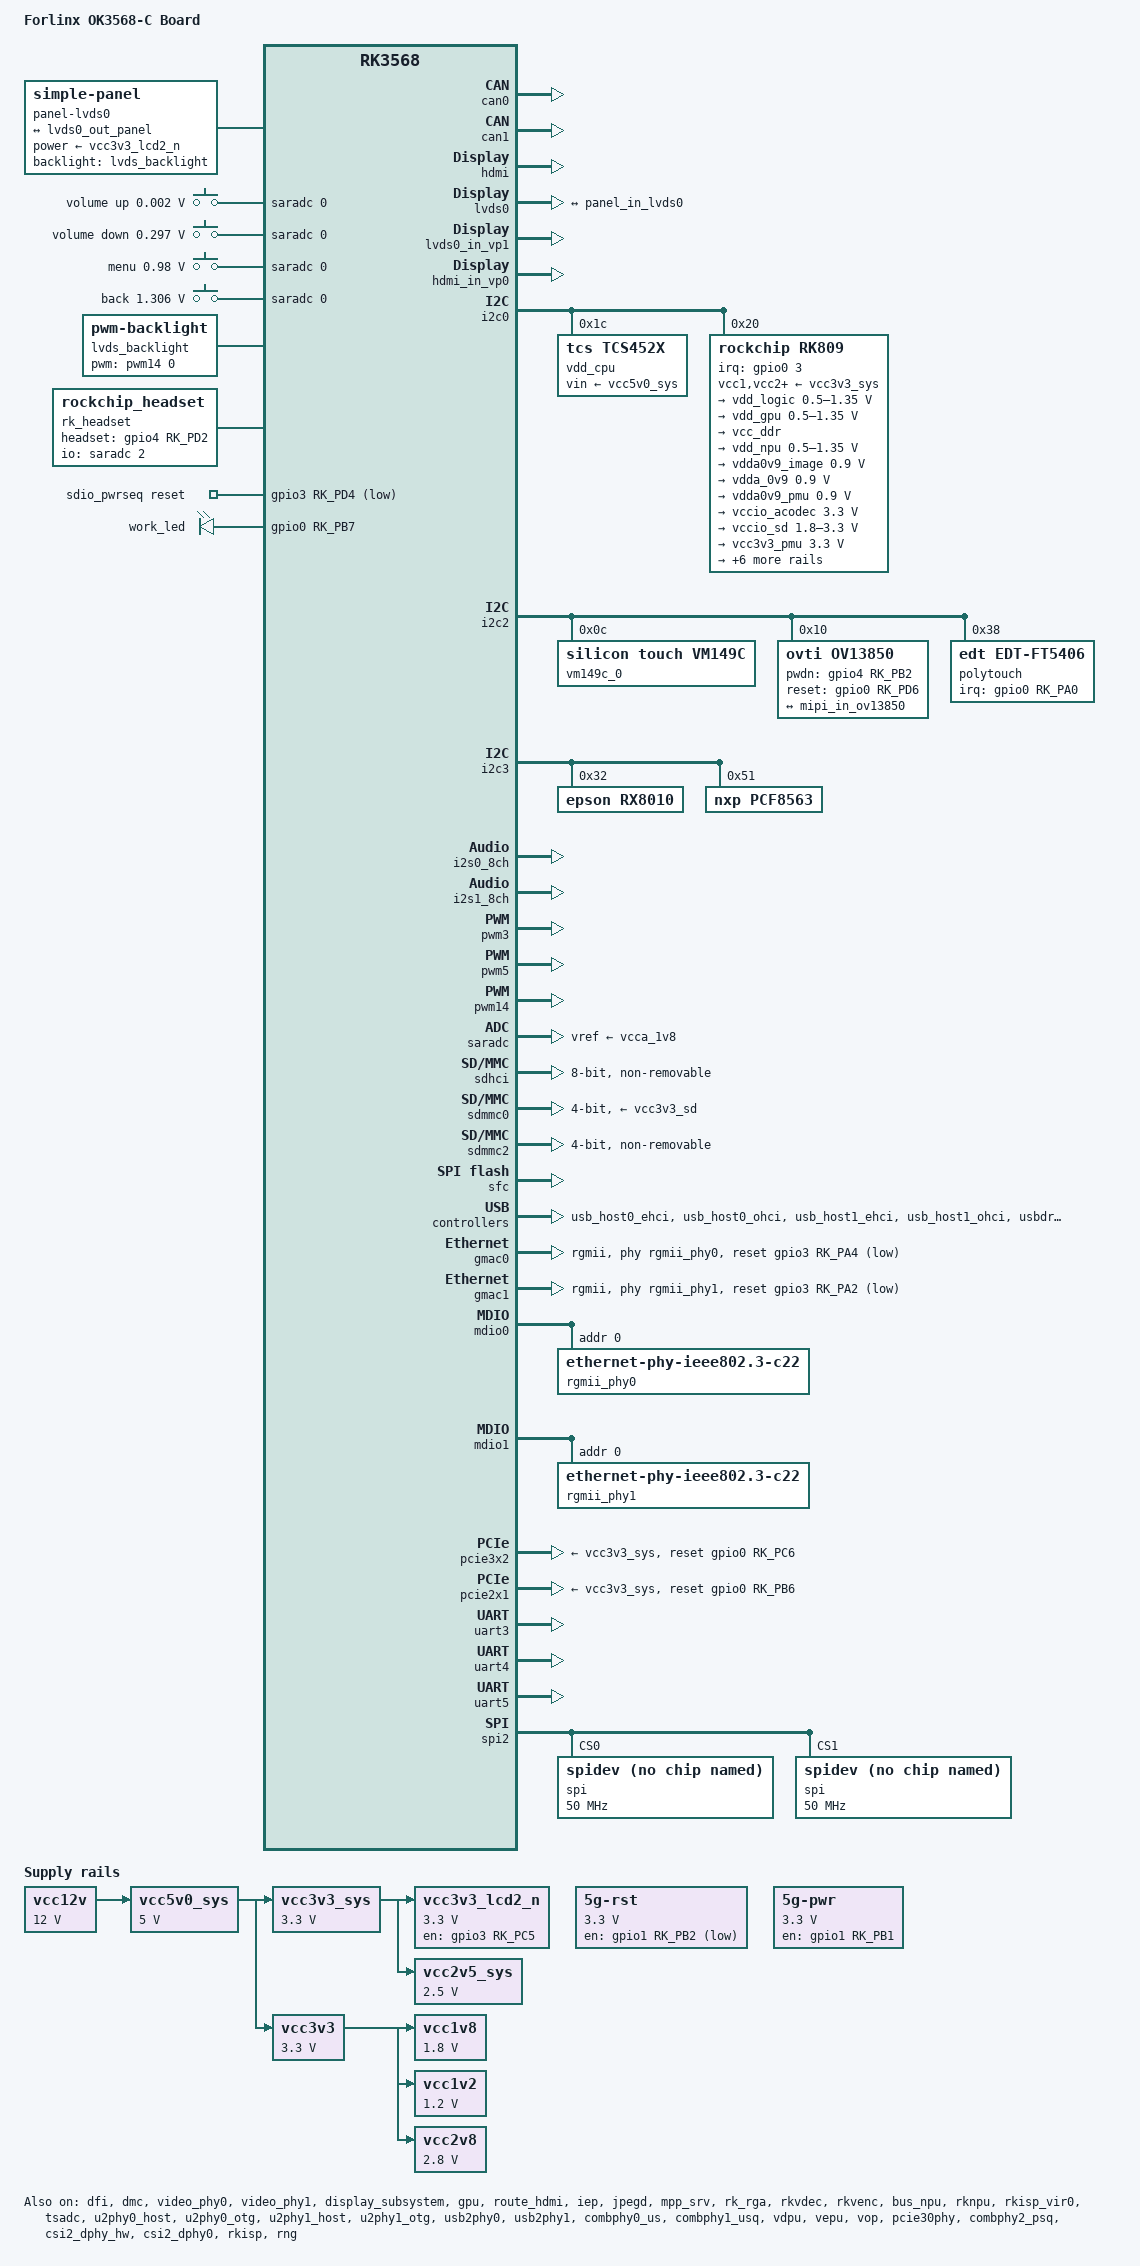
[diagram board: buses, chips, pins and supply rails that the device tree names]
/dts-v1/;
#include <dt-bindings/gpio/gpio.h>
#include <dt-bindings/pwm/pwm.h>
#include <dt-bindings/pinctrl/rockchip.h>
#include <dt-bindings/input/rk-input.h>
#include <dt-bindings/display/drm_mipi_dsi.h>
#include <dt-bindings/display/rockchip_vop.h>
#include <dt-bindings/sensor-dev.h>
#include "rk3568.dtsi"
#include <dt-bindings/display/media-bus-format.h>

/ {
	model = "Forlinx OK3568-C Board";
	compatible = "forlinx,ok3568", "rockchip,rk3568-evb1-ddr4-v10", "rockchip,rk3568";

	panel-lvds0 {
		compatible = "simple-panel";
		backlight = <&lvds_backlight>;
		power-supply = <&vcc3v3_lcd2_n>;
		enable-delay-ms = <20>;
		prepare-delay-ms = <20>;
		unprepare-delay-ms = <20>;
		disable-delay-ms = <20>;
		bus-format = <MEDIA_BUS_FMT_RGB888_1X7X4_SPWG>;
		width-mm = <217>;
		height-mm = <136>;

		display-timings {
			native-mode = <&timing0>;
			timing0: timing0 {
				clock-frequency = <71100000>;
				hactive = <1280>;
				vactive = <800>;
				hback-porch = <80>;
				hfront-porch = <80>;
				vback-porch = <10>;
				vfront-porch = <12>;
				hsync-len = <2>;
				vsync-len = <2>;
				hsync-active = <0>;
				vsync-active = <0>;
				de-active = <0>;
				pixelclk-active = <0>;
			};
		};

		ports {
			#address-cells = <1>;
			#size-cells = <0>;
			port@0 {
				reg = <0>;
				panel_in_lvds0: endpoint {
					remote-endpoint = <&lvds0_out_panel>;
				};
			};
		};
	};

	fiq_debugger: fiq-debugger {
		compatible = "rockchip,fiq-debugger";
		rockchip,serial-id = <2>;
		rockchip,wake-irq = <0>;
		/* If enable uart uses irq instead of fiq */
		rockchip,irq-mode-enable = <1>;
		rockchip,baudrate = <1500000>;  /* Only 115200 and 1500000 */
		interrupts = <GIC_SPI 252 IRQ_TYPE_LEVEL_LOW>;
		pinctrl-names = "default";
		pinctrl-0 = <&uart2m0_xfer>;
		status = "okay";
	};

	debug: debug@fd904000 {
		compatible = "rockchip,debug";
		reg = <0x0 0xfd904000 0x0 0x1000>,
			<0x0 0xfd905000 0x0 0x1000>,
			<0x0 0xfd906000 0x0 0x1000>,
			<0x0 0xfd907000 0x0 0x1000>;
	};

	cspmu: cspmu@fd90c000 {
		compatible = "rockchip,cspmu";
		reg = <0x0 0xfd90c000 0x0 0x1000>,
			<0x0 0xfd90d000 0x0 0x1000>,
			<0x0 0xfd90e000 0x0 0x1000>,
			<0x0 0xfd90f000 0x0 0x1000>;
	};

	adc_keys: adc-keys {
		compatible = "adc-keys";
		io-channels = <&saradc 0>;
		io-channel-names = "buttons";
		keyup-threshold-microvolt = <1800000>;
		poll-interval = <100>;

		vol-up-key {
			label = "volume up";
			linux,code = <KEY_VOLUMEUP>;
			press-threshold-microvolt = <1750>;
		};

		vol-down-key {
			label = "volume down";
			linux,code = <KEY_VOLUMEDOWN>;
			press-threshold-microvolt = <297500>;
		};

		menu-key {
			label = "menu";
			linux,code = <KEY_MENU>;
			press-threshold-microvolt = <980000>;
		};

		back-key {
			label = "back";
			linux,code = <KEY_BACK>;
			press-threshold-microvolt = <1305500>;
		};
	};

	audiopwmout_diff: audiopwmout-diff {
		status = "disabled";
		compatible = "simple-audio-card";
		simple-audio-card,format = "i2s";
		simple-audio-card,name = "rockchip,audiopwmout-diff";
		simple-audio-card,mclk-fs = <256>;
		simple-audio-card,bitclock-master = <&master>;
		simple-audio-card,frame-master = <&master>;
		simple-audio-card,cpu {
			sound-dai = <&i2s3_2ch>;
		};
		master: simple-audio-card,codec {
			sound-dai = <&dig_acodec>;
		};
	};

	hdmi_sound: hdmi-sound {
                status = "okay";
                compatible = "rockchip,hdmi";
                rockchip,mclk-fs = <128>;
                rockchip,card-name = "rockchip,hdmi";
                rockchip,cpu = <&i2s0_8ch>;
                rockchip,codec = <&hdmi>;
                rockchip,jack-det;
        };

	pdmics: dummy-codec {
		status = "disabled";
		compatible = "rockchip,dummy-codec";
		#sound-dai-cells = <0>;
	};

	pdm_mic_array: pdm-mic-array {
		status = "disabled";
		compatible = "simple-audio-card";
		simple-audio-card,name = "rockchip,pdm-mic-array";
		simple-audio-card,cpu {
			sound-dai = <&pdm>;
		};
		simple-audio-card,codec {
			sound-dai = <&pdmics>;
		};
	};

	reserved-memory {
		#address-cells = <2>;
		#size-cells = <2>;
		ranges;

		rknpu_reserved: rknpu {
			compatible = "shared-dma-pool";
			inactive;
			reusable;
			size = <0x0 0x20000000>;
			alignment = <0x0 0x1000>;
		};
	};

	rk809_sound: rk809-sound {
		status = "okay";
		compatible = "simple-audio-card";
		simple-audio-card,format = "i2s";
		simple-audio-card,name = "rockchip,rk809-codec";
		//simple-audio-card,hp-det-gpio = <&gpio4 RK_PD2 GPIO_ACTIVE_HIGH>;
		simple-audio-card,widgets =
			"Microphone", "Mic Jack",
			"Headphone", "Headphone Jack";
		simple-audio-card,routing =
                        "Mic Jack", "MICBIAS1",
                        "IN1P", "Mic Jack",
                        "Headphone Jack", "HPOL",
                        "Headphone Jack", "HPOR";
		simple-audio-card,mclk-fs = <256>;

		simple-audio-card,cpu {
			sound-dai = <&i2s1_8ch>;
		};
		simple-audio-card,codec {
			sound-dai = <&rk809_codec>;
		};
	};

	lvds_backlight: lvds-backlight {
                compatible = "pwm-backlight";
                pwms = <&pwm14 0 20000 0>;
                brightness-levels = <
                          0  20  20  21  21  22  22  23
                         23  24  24  25  25  26  26  27
                         27  28  28  29  29  30  30  31
                         31  32  32  33  33  34  34  35
                         35  36  36  37  37  38  38  39
                         40  41  42  43  44  45  46  47
                         48  49  50  51  52  53  54  55
                         56  57  58  59  60  61  62  63
                         64  65  66  67  68  69  70  71
                         72  73  74  75  76  77  78  79
                         80  81  82  83  84  85  86  87
                         88  89  90  91  92  93  94  95
                         96  97  98  99 100 101 102 103
                        104 105 106 107 108 109 110 111
                        112 113 114 115 116 117 118 119
                        120 121 122 123 124 125 126 127
                        128 129 130 131 132 133 134 135
                        136 137 138 139 140 141 142 143
                        144 145 146 147 148 149 150 151
                        152 153 154 155 156 157 158 159
                        160 161 162 163 164 165 166 167
                        168 169 170 171 172 173 174 175
                        176 177 178 179 180 181 182 183
                        184 185 186 187 188 189 190 191
                        192 193 194 195 196 197 198 199
                        200 201 202 203 204 205 206 207
                        208 209 210 211 212 213 214 215
                        216 217 218 219 220 221 222 223
                        224 225 226 227 228 229 230 231
                        232 233 234 235 236 237 238 239
                        240 241 242 243 244 245 246 247
                        248 249 250 251 252 253 254 255
                >;
                default-brightness-level = <200>;
                is-forlinx;
        };

	rk_headset: rk-headset {
		compatible = "rockchip_headset";
		headset_gpio = <&gpio4 RK_PD2 GPIO_ACTIVE_HIGH>;
		pinctrl-names = "default";
		pinctrl-0 = <&hp_det>;
		io-channels = <&saradc 2>;
	};

	vcc12v: vcc-12v {
		compatible = "regulator-fixed";
		regulator-name = "vcc12v";
		regulator-always-on;
		regulator-boot-on;
		regulator-min-microvolt = <12000000>;
		regulator-max-microvolt = <12000000>;
	};

	vcc3v3_sys: vcc3v3-sys {
		compatible = "regulator-fixed";
		regulator-name = "vcc3v3_sys";
		regulator-always-on;
		regulator-boot-on;
		regulator-min-microvolt = <3300000>;
		regulator-max-microvolt = <3300000>;
		vin-supply = <&vcc5v0_sys>;
	};

	vcc5v0_sys: vcc5v0-sys {
		compatible = "regulator-fixed";
		regulator-name = "vcc5v0_sys";
		regulator-always-on;
		regulator-boot-on;
		regulator-min-microvolt = <5000000>;
		regulator-max-microvolt = <5000000>;
		vin-supply = <&vcc12v>;
	};

	vcc3v3: vcc-3v3 {
		compatible = "regulator-fixed";
		regulator-name = "vcc3v3";
		regulator-always-on;
		regulator-boot-on;
		regulator-min-microvolt = <3300000>;
		regulator-max-microvolt = <3300000>;
		vin-supply = <&vcc5v0_sys>;
	};

	vcc1v8: vcc-1v8 {
		compatible = "regulator-fixed";
		regulator-name = "vcc1v8";
		regulator-always-on;
		regulator-boot-on;
		regulator-min-microvolt = <1800000>;
		regulator-max-microvolt = <1800000>;
		vin-supply = <&vcc3v3>;
	};

	vcc1v2: vcc-1v2 {
		compatible = "regulator-fixed";
		regulator-name = "vcc1v2";
		regulator-always-on;
		regulator-boot-on;
		regulator-min-microvolt = <1200000>;
		regulator-max-microvolt = <1200000>;
		vin-supply = <&vcc3v3>;
	};

	vcc2v8: vcc-2v8 {
		compatible = "regulator-fixed";
		regulator-name = "vcc2v8";
		regulator-always-on;
		regulator-boot-on;
		regulator-min-microvolt = <2800000>;
		regulator-max-microvolt = <2800000>;
		vin-supply = <&vcc3v3>;
	};

	vcc3v3_lcd2_n: vcc3v3-lcd2-n {
		compatible = "regulator-fixed";
		regulator-name = "vcc3v3_lcd2_n";
		regulator-boot-on;
		regulator-min-microvolt = <3300000>;
		regulator-max-microvolt = <3300000>;
		enable-active-high;
		gpio = <&gpio3 RK_PC5 GPIO_ACTIVE_HIGH>;
		vin-supply = <&vcc3v3_sys>;

		regulator-state-mem {
			regulator-off-in-suspend;
		};
	};

	sdio_pwrseq: sdio-pwrseq {
		compatible = "mmc-pwrseq-simple";
		clocks = <&rk809 1>;
		clock-names = "ext_clock";
		pinctrl-names = "default";
		pinctrl-0 = <&wifi_enable_h>;

		/*
		 * On the module itself this is one of these (depending
		 * on the actual card populated):
		 * - SDIO_RESET_L_WL_REG_ON
		 * - PDN (power down when low)
		 */
		post-power-on-delay-ms = <200>;
		reset-gpios = <&gpio3 RK_PD4 GPIO_ACTIVE_LOW>;
	};

	vcc2v5_sys: vcc2v5-ddr {
		compatible = "regulator-fixed";
		regulator-name = "vcc2v5-sys";
		regulator-always-on;
		regulator-boot-on;
		regulator-min-microvolt = <2500000>;
		regulator-max-microvolt = <2500000>;
		vin-supply = <&vcc3v3_sys>;
	};

	5g-rst {
		compatible = "regulator-fixed";
		regulator-name = "5g-rst";
		regulator-min-microvolt = <3300000>;
		regulator-max-microvolt = <3300000>;
		gpio = <&gpio1 RK_PB2 GPIO_ACTIVE_LOW>;
		enable-active-low;
		regulator-boot-on;
		regulator-always-on;
		pinctrl-names = "default";
		pinctrl-0 = <&net_5g_rst_gpio>;
		status = "okay";
	};

	5g-pwr {
                compatible = "regulator-fixed";
                regulator-name = "5g-pwr";
                regulator-min-microvolt = <3300000>;
                regulator-max-microvolt = <3300000>;
                gpio = <&gpio1 RK_PB1 GPIO_ACTIVE_HIGH>;
                enable-active-high;
                regulator-boot-on;
                regulator-always-on;
                pinctrl-names = "default";
                pinctrl-0 = <&net_5g_pwr_gpio>;
                status = "okay";
        };

	test-power {
                status = "okay";
        };

	leds: leds {
		compatible = "gpio-leds";
		work_led: work {
			gpios = <&gpio0 RK_PB7 GPIO_ACTIVE_HIGH>;
			linux,default-trigger = "heartbeat";
		};
	};
};

&can0 {
        assigned-clocks = <&cru CLK_CAN0>;
        assigned-clock-rates = <200000000>;
        pinctrl-names = "default";
        pinctrl-0 = <&can0m0_pins>;
        status = "okay";
};

&can1 {
        assigned-clocks = <&cru CLK_CAN1>;
        assigned-clock-rates = <200000000>;
        pinctrl-names = "default";
        pinctrl-0 = <&can1m1_pins>;
        status = "okay";
};

&can2 {
        assigned-clocks = <&cru CLK_CAN2>;
        assigned-clock-rates = <150000000>;
        pinctrl-names = "default";
        pinctrl-0 = <&can2m1_pins>;
        status = "disabled";
};

&cpu0 {
	cpu-supply = <&vdd_cpu>;
};

&dfi {
	status = "okay";
};

&dmc {
	center-supply = <&vdd_logic>;
	status = "okay";
};

&video_phy0 {
	status = "okay";
};

&video_phy1 {
	status = "okay";
};

&display_subsystem {
    status = "okay";
};

&gpu {
	clock-names = "gpu", "bus";
	interrupt-names = "gpu", "mmu", "job";
	mali-supply = <&vdd_gpu>;
	status = "okay";
};

&hdmi {
	status = "okay";
	pinctrl-0 = <&hdmitx_scl &hdmitx_sda &hdmitxm1_cec>;
};

&dsi0 {
	status = "disabled";
};

&dsi0_in_vp0 {
	status = "disabled";
};

&dsi0_in_vp1 {
	status = "disabled";
};

&dsi1_in_vp1 {
	status = "disabled";
};

&edp_in_vp1 {
	status = "disabled";
};

&lvds0 {
	status = "okay";
	ports {
		port@1 {
			reg = <1>;
			lvds0_out_panel: endpoint {
				remote-endpoint = <&panel_in_lvds0>;
			};
		};
	};
};

&lvds0_in_vp1 {
	status = "okay";
};

&lvds1 {
	status = "disabled";
};

&rgb_in_vp2 {
	status = "disabled";
};

&hdmi_in_vp0 {
	status = "okay";
};

&hdmi_in_vp1 {
	status = "disabled";
};

&hdmi_sound {
	status = "okay";
};

&route_hdmi {
	status = "okay";
	connect = <&vp0_out_hdmi>;
};

&i2c0 {
	status = "okay";

	vdd_cpu: tcs4525@1c {
		compatible = "tcs,tcs452x";
		reg = <0x1c>;
		vin-supply = <&vcc5v0_sys>;
		regulator-compatible = "fan53555-reg";
		regulator-name = "vdd_cpu";
		regulator-min-microvolt = <712500>;
		regulator-max-microvolt = <1390000>;
		regulator-init-microvolt = <900000>;
		regulator-ramp-delay = <2300>;
		fcs,suspend-voltage-selector = <1>;
		regulator-boot-on;
		regulator-always-on;
		regulator-state-mem {
			regulator-off-in-suspend;
		};
	};

	rk809: pmic@20 {
		compatible = "rockchip,rk809";
		reg = <0x20>;
		interrupt-parent = <&gpio0>;
		interrupts = <3 IRQ_TYPE_LEVEL_LOW>;

		pinctrl-names = "default", "pmic-sleep",
			"pmic-power-off", "pmic-reset";
		pinctrl-0 = <&pmic_int>;
		pinctrl-1 = <&soc_slppin_slp>, <&rk817_slppin_slp>;
		pinctrl-2 = <&soc_slppin_gpio>, <&rk817_slppin_pwrdn>;
		pinctrl-3 = <&soc_slppin_gpio>, <&rk817_slppin_rst>;

		rockchip,system-power-controller;
		wakeup-source;
		#clock-cells = <1>;
		clock-output-names = "rk808-clkout1", "rk808-clkout2";
                //fb-inner-reg-idxs = <2>;
                /* 1: rst regs (default in codes), 0: rst the pmic */
		pmic-reset-func = <0>;
		/* not save the PMIC_POWER_EN register in uboot */
		not-save-power-en = <1>;
		
		vcc1-supply = <&vcc3v3_sys>;
		vcc2-supply = <&vcc3v3_sys>;
		vcc3-supply = <&vcc3v3_sys>;
		vcc4-supply = <&vcc3v3_sys>;
		vcc5-supply = <&vcc3v3_sys>;
		vcc6-supply = <&vcc3v3_sys>;
		vcc7-supply = <&vcc3v3_sys>;
		vcc8-supply = <&vcc3v3_sys>;
		vcc9-supply = <&vcc3v3_sys>;

		pwrkey {
			status = "okay";
		};

		pinctrl_rk8xx: pinctrl_rk8xx {
			gpio-controller;
			#gpio-cells = <2>;

			rk817_slppin_null: rk817_slppin_null {
				pins = "gpio_slp";
				function = "pin_fun0";
			};

			rk817_slppin_slp: rk817_slppin_slp {
				pins = "gpio_slp";
				function = "pin_fun1";
			};

			rk817_slppin_pwrdn: rk817_slppin_pwrdn {
				pins = "gpio_slp";
				function = "pin_fun2";
			};

			rk817_slppin_rst: rk817_slppin_rst {
				pins = "gpio_slp";
				function = "pin_fun3";
			};
		};

                regulators {
                        vdd_logic: DCDC_REG1 {
				regulator-always-on;
				regulator-boot-on;
				regulator-min-microvolt = <500000>;
				regulator-max-microvolt = <1350000>;
				regulator-init-microvolt = <900000>;
				regulator-ramp-delay = <6001>;
				regulator-initial-mode = <0x2>;
				regulator-name = "vdd_logic";
				regulator-state-mem {
				        regulator-off-in-suspend;
				};
                        };

                        vdd_gpu: DCDC_REG2 {
				regulator-always-on;
				regulator-boot-on;
				regulator-min-microvolt = <500000>;
				regulator-max-microvolt = <1350000>;
				regulator-init-microvolt = <900000>;
				regulator-ramp-delay = <6001>;
				regulator-initial-mode = <0x2>;
				regulator-name = "vdd_gpu";
				regulator-state-mem {
				        regulator-off-in-suspend;
				};
                        };

                        vcc_ddr: DCDC_REG3 {
				regulator-always-on;
				regulator-boot-on;
				regulator-initial-mode = <0x2>;
				regulator-name = "vcc_ddr";
				regulator-state-mem {
				        regulator-on-in-suspend;
				};
                        };

                        vdd_npu: DCDC_REG4 {
				regulator-always-on;
				regulator-boot-on;
				regulator-min-microvolt = <500000>;
				regulator-max-microvolt = <1350000>;
				regulator-init-microvolt = <900000>;
				regulator-ramp-delay = <6001>;
				regulator-initial-mode = <0x2>;
				regulator-name = "vdd_npu";
				regulator-state-mem {
				        regulator-off-in-suspend;
				};
                        };

                        vdda0v9_image: LDO_REG1 {
				regulator-boot-on;
				regulator-always-on;
				regulator-min-microvolt = <900000>;
				regulator-max-microvolt = <900000>;
				regulator-name = "vdda0v9_image";
				regulator-state-mem {
				        regulator-off-in-suspend;
				};
                        };

                        vdda_0v9: LDO_REG2 {
				regulator-always-on;
				regulator-boot-on;
				regulator-min-microvolt = <900000>;
				regulator-max-microvolt = <900000>;
				regulator-name = "vdda_0v9";
				regulator-state-mem {
				        regulator-off-in-suspend;
				};
                        };

                        vdda0v9_pmu: LDO_REG3 {
				regulator-always-on;
				regulator-boot-on;
				regulator-min-microvolt = <900000>;
				regulator-max-microvolt = <900000>;
				regulator-name = "vdda0v9_pmu";
				regulator-state-mem {
				        regulator-on-in-suspend;
				        regulator-suspend-microvolt = <900000>;
				};
                        };

                        vccio_acodec: LDO_REG4 {
				regulator-always-on;
				regulator-boot-on;
				regulator-min-microvolt = <3300000>;
				regulator-max-microvolt = <3300000>;
				regulator-name = "vccio_acodec";
				regulator-state-mem {
				        regulator-off-in-suspend;
				};
                        };

                        vccio_sd: LDO_REG5 {
				regulator-always-on;
				regulator-boot-on;
				regulator-min-microvolt = <1800000>;
				regulator-max-microvolt = <3300000>;
				regulator-name = "vccio_sd";
				regulator-state-mem {
				        regulator-off-in-suspend;
				};
                        };

                        vcc3v3_pmu: LDO_REG6 {
				regulator-always-on;
				regulator-boot-on;
				regulator-min-microvolt = <3300000>;
				regulator-max-microvolt = <3300000>;
				regulator-name = "vcc3v3_pmu";
				regulator-state-mem {
				        regulator-on-in-suspend;
				        regulator-suspend-microvolt = <3300000>;
				};
                        };

                        vcca_1v8: LDO_REG7 {
				regulator-always-on;
				regulator-boot-on;
				regulator-min-microvolt = <1800000>;
				regulator-max-microvolt = <1800000>;
				regulator-name = "vcca_1v8";
				regulator-state-mem {
				        regulator-off-in-suspend;
				};
                        };

                        vcca1v8_pmu: LDO_REG8 {
				regulator-always-on;
				regulator-boot-on;
				regulator-min-microvolt = <1800000>;
				regulator-max-microvolt = <1800000>;
				regulator-name = "vcca1v8_pmu";
				regulator-state-mem {
					regulator-on-in-suspend;
					regulator-suspend-microvolt = <1800000>;
				};
                        };

                        vcca1v8_image: LDO_REG9 {
				regulator-always-on;
				regulator-boot-on;
				regulator-min-microvolt = <1800000>;
				regulator-max-microvolt = <1800000>;
				regulator-name = "vcca1v8_image";
				regulator-state-mem {
				        regulator-off-in-suspend;
				};
                        };

                        vcc_1v8: DCDC_REG5 {
				regulator-always-on;
				regulator-boot-on;
				regulator-min-microvolt = <1800000>;
				regulator-max-microvolt = <1800000>;
				regulator-name = "vcc_1v8";
				regulator-state-mem {
				        regulator-off-in-suspend;
				};
                        };

                        vcc_3v3: SWITCH_REG1 {
				regulator-always-on;
				regulator-boot-on;
				regulator-name = "vcc_3v3";
				regulator-state-mem {
				        regulator-off-in-suspend;
				};
                        };

                        vcc3v3_sd: SWITCH_REG2 {
                                regulator-always-on;
                                regulator-boot-on;
                                regulator-name = "vcc3v3_sd";
                                regulator-state-mem {
                                        regulator-off-in-suspend;
                                };
                        };
                };

                rk809_codec: codec {
                        #sound-dai-cells = <0>;
                        compatible = "rockchip,rk809-codec", "rockchip,rk817-codec";
                        clocks = <&cru I2S1_MCLKOUT>;
                        clock-names = "mclk";
                        assigned-clocks = <&cru I2S1_MCLKOUT>, <&cru I2S1_MCLK_TX_IOE>;
                        assigned-clock-rates = <12288000>;
                        assigned-clock-parents = <&cru I2S1_MCLKOUT_TX>, <&cru I2S1_MCLKOUT_TX>;
                        pinctrl-names = "default";
                        pinctrl-0 = <&i2s1m0_mclk>;
                        hp-volume = <20>;
                        spk-volume = <3>;
                        mic-in-differential;
                        status = "okay";
                };
        };
};

&i2c2 {
        status = "okay";
        pinctrl-names = "default";
        pinctrl-0 = <&i2c2m1_xfer>;

        vm149c_0: vm149c@0c {
                compatible = "silicon touch,vm149c";
                status = "okay";
                reg = <0x0c>;
                rockchip,camera-module-index = <0>;
                rockchip,camera-module-facing = "back";
        };

        ov13850: ov13850@10 {
                compatible = "ovti,ov13850";
                status = "okay";
                reg = <0x10>;
                clocks = <&cru CLK_CIF_OUT>;
                clock-names = "xvclk";
                power-domains = <&power RK3568_PD_VI>;
                pinctrl-names = "default";
                pinctrl-0 = <&cif_clk>, <&ov13850_default_pin>;
                pwdn-gpios = <&gpio4 RK_PB2 GPIO_ACTIVE_HIGH>;
                reset-gpios = <&gpio0 RK_PD6 GPIO_ACTIVE_HIGH>;
                rockchip,camera-module-index = <0>;
                rockchip,camera-module-facing = "back";
                rockchip,camera-module-name = "ov13850-csi";
                rockchip,camera-module-lens-name = "ov13850-2mp";
                lens-focus = <&vm149c_0>;

                port {
                        ov13850_out: endpoint {
                                remote-endpoint = <&mipi_in_ov13850>;
                                data-lanes = <1 2>;
                        };
                };
        };

	gt9xx_lvds: gt9xx-lvds@5d {
                compatible = "goodix,gt9xx";
                reg = <0x5d>;
                pinctrl-names = "default";
                pinctrl-0 = <&touch_gpio>;
                touch-gpio = <&gpio1 RK_PA4 IRQ_TYPE_LEVEL_LOW>;
                reset-gpio = <&gpio1 RK_PB0 GPIO_ACTIVE_HIGH>;
                max-x = <1280>;
                max-y = <800>;
                tp-size = <970>;
                status = "disabled";
        };

        gt9xx_rgb: gt9xx-rgb@14 {
                compatible = "goodix,gt928";
                reg = <0x14>;
                pinctrl-names = "default";
                pinctrl-0 = <&rgb_touch_gpio>;
                interrupt-parent = <&gpio4>;
                interrupts = <RK_PC6 IRQ_TYPE_EDGE_FALLING>;
                irq-gpio = <&gpio4 RK_PC6 IRQ_TYPE_LEVEL_LOW>;
                reset-gpio = <&gpio4 RK_PC5 GPIO_ACTIVE_HIGH>;
                touchscreen-size-x = <800>;
                touchscreen-size-y = <480>;
                touchscreen-inverted-x;
                touchscreen-inverted-y;
                //uniq = "rgb";
                status = "disabled";
        };

        gt9xx_dsi: gt9xx@14 {
                compatible = "goodix,gt928";
                reg = <0x14>;
                pinctrl-names = "default";
                pinctrl-0 = <&dsi_gt911_int>;
                interrupt-parent = <&gpio0>;
                interrupts = <RK_PA0 IRQ_TYPE_EDGE_FALLING>;
                irq-gpio = <&gpio0 RK_PA0 GPIO_ACTIVE_HIGH>;
                reset-gpio = <&gpio0 RK_PC0 GPIO_ACTIVE_HIGH>;
                touchscreen-size-x = <1024>;
                touchscreen-size-y = <600>;
                uniq = "dsi";
                status = "disabled";
        };

        polytouch: edt-ft5x06@38{
                compatible = "edt,edt-ft5406", "edt,edt-ft5x06";
                reg = <0x38>;
                pinctrl-names = "defaults";
                pinctrl-0 = <&ft5x06_int>;
                interrupt-parent = <&gpio0>;
                interrupts = <RK_PA0 IRQ_TYPE_EDGE_FALLING>;
                touchscreen-size-x = <1024>;
                touchscreen-size-y = <600>;
                status = "okay";
        };
};

&i2c3 {
        status = "okay";

        rx8010: rx8010@32 {
                compatible = "epson,rx8010";
                reg = <0x32>;
        };

        pcf8563: pcf8563@51 {
                compatible = "nxp,pcf8563";
                reg = <0x51>;
                #clock-cells = <0>;
        };
};

&i2s0_8ch {
        status = "okay";
};

&i2s1_8ch {
        status = "okay";
        rockchip,clk-trcm = <1>;
        pinctrl-names = "default";
        pinctrl-0 = <&i2s1m0_sclktx
                     &i2s1m0_lrcktx
                     &i2s1m0_sdi0
                     &i2s1m0_sdo0>;
};

&iep {
	status = "okay";
};

&iep_mmu {
	status = "okay";
};

&jpegd {
	status = "okay";
};

&jpegd_mmu {
	status = "okay";
};

&mpp_srv {
	status = "okay";
};

&pmu_io_domains {
	status = "okay";
	pmuio1-supply = <&vcc3v3_pmu>;
	pmuio2-supply = <&vcc3v3_pmu>;
	vccio1-supply = <&vccio_acodec>;
	vccio3-supply = <&vccio_sd>;
	vccio4-supply = <&vcc_1v8>;
	vccio5-supply = <&vcc_3v3>;
	vccio6-supply = <&vcc_1v8>;
	vccio7-supply = <&vcc_3v3>;
};

&pwm3 {
        status = "okay";
};

&pwm5 {
        status = "okay";
};

&pwm14 {
	status = "okay";
};

&rk_rga {
	status = "okay";
};

&rkvdec {
	status = "okay";
};

&rkvdec_mmu {
	status = "okay";
};

&rkvenc {
	venc-supply = <&vdd_logic>;
	status = "okay";
};

&rkvenc_mmu {
	status = "okay";
};

&bus_npu {
	bus-supply = <&vdd_logic>;
	pvtm-supply = <&vdd_cpu>;
	status = "okay";
};

&rknpu {
	memory-region = <&rknpu_reserved>;
	rknpu-supply = <&vdd_npu>;
	status = "okay";
};

&rknpu_mmu {
	status = "okay";
};

&saradc {
	status = "okay";
	vref-supply = <&vcca_1v8>;
};

&sdhci {
	bus-width = <8>;
	supports-emmc;
	non-removable;
	max-frequency = <200000000>;
	status = "okay";
};

&sdmmc0 {
	max-frequency = <150000000>;
	supports-sd;
	bus-width = <4>;
	cap-mmc-highspeed;
	cap-sd-highspeed;
	disable-wp;
	sd-uhs-sdr104;
	vmmc-supply = <&vcc3v3_sd>;
	vqmmc-supply = <&vccio_sd>;
	pinctrl-names = "default";
	pinctrl-0 = <&sdmmc0_bus4 &sdmmc0_clk &sdmmc0_cmd &sdmmc0_det>;
	status = "okay";
};

&rkisp_vir0 {
        status = "okay";

        port {
                #address-cells = <1>;
                #size-cells = <0>;

                isp0_in: endpoint@0 {
                        reg = <0>;
                        remote-endpoint = <&csidphy_out>;
                };
        };
};

&sdmmc2 {
	max-frequency = <150000000>;
	supports-sdio;
	bus-width = <4>;
	disable-wp;
	cap-sd-highspeed;
	cap-sdio-irq;
	keep-power-in-suspend;
	mmc-pwrseq = <&sdio_pwrseq>;
	non-removable;
	pinctrl-names = "default";
	pinctrl-0 = <&sdmmc2m0_bus4 &sdmmc2m0_cmd &sdmmc2m0_clk>;
	sd-uhs-sdr104;
	status = "okay";
};

&sfc {
	status = "okay";
};

&tsadc {
	status = "okay";
};

&u2phy0_host {
	status = "okay";
};

&u2phy0_otg {
	status = "okay";
};

&u2phy1_host {
	status = "okay";
};

&u2phy1_otg {
	status = "okay";
};

&usb2phy0 {
	status = "okay";
};

&usb2phy1 {
	status = "okay";
};

&usb_host0_ehci {
	status = "okay";
};

&usb_host0_ohci {
	status = "okay";
};

&usb_host1_ehci {
	status = "okay";
};

&usb_host1_ohci {
	status = "okay";
};

&usbdrd_dwc3 {
	extcon=<&usb2phy0>;
	status="okay";
};

&usbdrd30 {
	status = "okay";
};

&usbhost_dwc3 {
	status = "okay";
};

&usbhost30 {
	status = "okay";
};

&combphy0_us {
	status = "okay";
};

&combphy1_usq {
	status = "okay";
};

&xpcs {
	status="disabled";
};

&vdpu {
	status = "okay";
};

&vdpu_mmu {
	status = "okay";
};

&vepu {
	status = "okay";
};

&vepu_mmu {
	status = "okay";
};

&vop {
	status = "okay";
	assigned-clocks = <&cru DCLK_VOP0>, <&cru DCLK_VOP1>;
	assigned-clock-parents = <&pmucru PLL_HPLL>, <&cru PLL_VPLL>;
};

&vop_mmu {
	status = "okay";
};

&gmac0 {
        phy-mode = "rgmii";
        clock_in_out = "output";

        snps,reset-gpio = <&gpio3 RK_PA4 GPIO_ACTIVE_LOW>;
	snps,reset-active-low;
	/* Reset time is 20ms, 100ms for rtl8211f */
	snps,reset-delays-us = <0 20000 100000>;

	assigned-clocks = <&cru SCLK_GMAC0_RX_TX>, <&cru SCLK_GMAC0>, <&cru CLK_MAC0_OUT>;
        assigned-clock-parents = <&cru SCLK_GMAC0_RGMII_SPEED>;
	 assigned-clock-rates = <0>, <125000000>, <25000000>;

	pinctrl-names = "default";
	pinctrl-0 = <&gmac0_miim
		     &gmac0_tx_bus2
		     &gmac0_rx_bus2
		     &gmac0_rgmii_clk
		     &gmac0_rgmii_bus
		     &eth0_pins>;

	tx_delay = <0x2f>;
	rx_delay = <0x00>;

	phy-handle = <&rgmii_phy0>;
	status = "okay";
};

&gmac1 {
        phy-mode = "rgmii";
        clock_in_out = "output";

        snps,reset-gpio = <&gpio3 RK_PA2 GPIO_ACTIVE_LOW>;
	snps,reset-active-low;
	/* Reset time is 20ms, 100ms for rtl8211f */
	snps,reset-delays-us = <0 20000 100000>;

        assigned-clocks = <&cru SCLK_GMAC1_RX_TX>, <&cru SCLK_GMAC1>, <&cru CLK_MAC1_OUT>;
        assigned-clock-parents = <&cru SCLK_GMAC1_RGMII_SPEED>;
	assigned-clock-rates = <0>, <125000000>, <25000000>;

	pinctrl-names = "default";
	pinctrl-0 = <&gmac1m1_miim
		     &gmac1m1_tx_bus2
		     &gmac1m1_rx_bus2
		     &gmac1m1_rgmii_clk
		     &gmac1m1_rgmii_bus
		     &eth1m1_pins>;

	tx_delay = <0x35>;
	rx_delay = <0x00>;

	phy-handle = <&rgmii_phy1>;
	status = "okay";
};

&mdio0 {
        rgmii_phy0: phy@0 {
                compatible = "ethernet-phy-ieee802.3-c22";
                reg = <0x0>;
                clocks = <&cru CLK_MAC0_OUT>;
        };
};

&mdio1 {
	rgmii_phy1: phy@0 {
		compatible = "ethernet-phy-ieee802.3-c22";
		reg = <0x0>;
		clocks = <&cru CLK_MAC1_OUT>;
	};
};

&pcie30phy {
	status = "okay";
};

&pcie3x2 {
	reset-gpios = <&gpio0 RK_PC6 GPIO_ACTIVE_HIGH>;
	enable-gpios = <&gpio0 RK_PA5 GPIO_ACTIVE_HIGH>;
	vpcie3v3-supply = <&vcc3v3_sys>;
	status = "okay";
};

&pcie2x1 {
	reset-gpios = <&gpio0 RK_PB6 GPIO_ACTIVE_HIGH>;
	vpcie3v3-supply = <&vcc3v3_sys>;
	status = "okay";
};

&combphy2_psq {
	status = "okay";
};

&csi2_dphy_hw {
	status = "okay";
};

&csi2_dphy0 {
	status = "okay";

	ports {
		#address-cells = <1>;
		#size-cells = <0>;
		port@0 {
			reg = <0>;
			#address-cells = <1>;
			#size-cells = <0>;

			mipi_in_ov13850: endpoint@1 {
				reg = <1>;
				remote-endpoint = <&ov13850_out>;
				data-lanes = <1 2>;
			};
		};
		port@1 {
			reg = <1>;
			#address-cells = <1>;
			#size-cells = <0>;

			csidphy_out: endpoint@0 {
				reg = <0>;
				remote-endpoint = <&isp0_in>;
			};
		};
	};
};

&rkisp {
	status = "okay";
};

&rkisp_mmu {
	status = "okay";
};

&reserved_memory {
	ramoops: ramoops@110000 {
		compatible = "ramoops";
		reg = <0x0 0x110000 0x0 0xf0000>;
		record-size = <0x20000>;
		console-size = <0x80000>;
		ftrace-size = <0x00000>;
		pmsg-size = <0x50000>;
	};
};

&rng {
	status = "okay";
};

&rockchip_suspend {
	status = "okay";
};

&pinctrl {
	touch {
		touch_gpio: touch-gpio {
			rockchip,pins =
				<1 RK_PA4 RK_FUNC_GPIO &pcfg_pull_up>,
				<1 RK_PB0 RK_FUNC_GPIO &pcfg_pull_none>;
		};

                rgb_touch_gpio: rgb-touch-gpio {
                        rockchip,pins =
                                <4 RK_PC6 RK_FUNC_GPIO &pcfg_pull_up>,
                                <4 RK_PC5 RK_FUNC_GPIO &pcfg_pull_none>;
                };

                ft5x06_int: ft5x06-int {
                        rockchip,pins = <0 RK_PA0 RK_FUNC_GPIO &pcfg_pull_up>,
                                                        <0 RK_PC0 RK_FUNC_GPIO &pcfg_pull_up>;
                };

                dsi_gt911_int: dsi-gt911-int {
                        rockchip,pins = <0 RK_PA0 RK_FUNC_GPIO &pcfg_pull_up>,
                                                        <0 RK_PC0 RK_FUNC_GPIO &pcfg_pull_up>;
                };
        };
        cam {
                camera_pwr: camera-pwr {
                        rockchip,pins =
                                /* camera power en */
                                <0 RK_PC1 RK_FUNC_GPIO &pcfg_pull_none>;
                };

                ov13850_default_pin: ov13850-default-pin {
                        rockchip,pins =
                                <4 RK_PB2 RK_FUNC_GPIO &pcfg_pull_none>,
                                <0 RK_PD6 RK_FUNC_GPIO &pcfg_pull_none>;
                };
                ov13850_sleep_pin: ov13850-sleep-pin {
                        rockchip,pins =
                                <4 RK_PB2 RK_FUNC_GPIO &pcfg_pull_none>,
                                <0 RK_PD6 RK_FUNC_GPIO &pcfg_pull_none>;
                };
        };
	pmic {
		pmic_int: pmic_int {
			rockchip,pins =
				<0 RK_PA3 RK_FUNC_GPIO &pcfg_pull_up>;
		};

		soc_slppin_gpio: soc_slppin_gpio {
			rockchip,pins =
				<0 RK_PA2 RK_FUNC_GPIO &pcfg_output_low_pull_down>;
		};

		soc_slppin_slp: soc_slppin_slp {
			rockchip,pins =
				<0 RK_PA2 1 &pcfg_pull_up>;
		};

		soc_slppin_rst: soc_slppin_rst {
			rockchip,pins =
				<0 RK_PA2 2 &pcfg_pull_none>;
		};
	};

        sdio-pwrseq {
                wifi_enable_h: wifi-enable-h {
                        rockchip,pins = <3 RK_PD4 RK_FUNC_GPIO &pcfg_pull_none>;
                };
        };

        headphone {
                hp_det: hp-det {
                        rockchip,pins = <4 RK_PD2 RK_FUNC_GPIO &pcfg_pull_none>;
                };
        };

        sdio-pwrseq {
                wifi_enable_h: wifi-enable-h {
                        rockchip,pins = <3 RK_PD4 RK_FUNC_GPIO &pcfg_pull_none>;
                };
        };

	5g {
                net_5g_rst_gpio: net_5g_rst_gpio {
                        rockchip,pins = <1 RK_PB2 RK_FUNC_GPIO &pcfg_pull_none>;
                };

                net_5g_pwr_gpio: net_5g_pwr_gpio {
                        rockchip,pins = <1 RK_PB1 RK_FUNC_GPIO &pcfg_pull_none>;
                };
        };
};

&vp0 {
	rockchip,plane-mask = <(1 << ROCKCHIP_VOP2_CLUSTER0 | 1 << ROCKCHIP_VOP2_ESMART0)>;
	rockchip,primary-plane = <ROCKCHIP_VOP2_ESMART0>;
};

&uart3 {
        status = "okay";
        pinctrl-names = "default";
        pinctrl-0 = <&uart3m1_xfer>;
};

&uart4 {
        status = "okay";
        pinctrl-names = "default";
        pinctrl-0 = <&uart4m1_xfer>;
};

&uart5 {
        status = "okay";
        pinctrl-names = "default";
        pinctrl-0 = <&uart5m1_xfer>;
};

&spi0 {
        pinctrl-names = "default", "high_speed";
        pinctrl-0 = <&spi0m1_cs0 &spi0m1_pins>;
        pinctrl-1 = <&spi0m1_cs0 &spi0m1_pins_hs>;
        status = "disabled";

        spi@0 {
                compatible = "rockchip,spidev";
                reg = <0>;
                spi-max-frequency = <50000000>;
        };
};

&spi2 {
        pinctrl-names = "default", "high_speed";
        pinctrl-0 = <&spi2m1_cs0 &spi2m1_cs1 &spi2m1_pins>;
        pinctrl-1 = <&spi2m1_cs0 &spi2m1_cs1 &spi2m1_pins_hs>;
        status = "okay";

        spi@0 {
                compatible = "rockchip,spidev";
                reg = <0>;
                spi-max-frequency = <50000000>;
        };

        spi@1 {
                compatible = "rockchip,spidev";
                reg = <1>;
                spi-max-frequency = <50000000>;
        };
};

